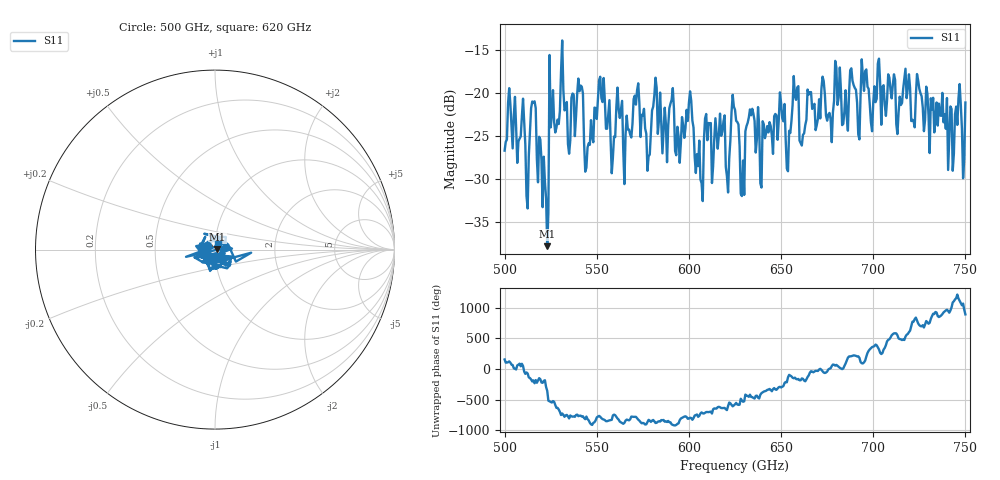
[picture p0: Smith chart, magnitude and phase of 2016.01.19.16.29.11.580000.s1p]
!Created with skrf (http://scikit-rf.org).
# GHz S RI R 50.0
!freq ReS11 ImS11
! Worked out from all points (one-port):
!   401 points, 500 GHz to 750 GHz, reference 50 ohm
!   lowest |S11| = -37.9 dB at 523.1 GHz (marker M1), VSWR 1.03, Z = 51.3 + j0.112 ohm
!   |S11| at or under -10 dB: start of sweep to end of sweep
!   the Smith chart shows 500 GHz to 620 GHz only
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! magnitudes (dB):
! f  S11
! 500 GHz  -26.7
! 512.5 GHz  -33.5
! 515.6 GHz  -21.1
! 523.1 GHz  -37.9
! 525.6 GHz  -22.6
! 531.2 GHz  -13.9
! 534.4 GHz  -26.0
! 541.2 GHz  -19.1
! 544.4 GHz  -28.7
! 552.5 GHz  -20.6
! 558.8 GHz  -27.5
! 562.5 GHz  -22.9
! 578.1 GHz  -27.4
! 581.2 GHz  -20.3
! 590.6 GHz  -20.8
! 593.8 GHz  -24.0
! 600 GHz  -21.1
! 606.2 GHz  -30.1
! 610 GHz  -25.5
! 621.2 GHz  -31.6
! 625 GHz  -22.0
! 628.8 GHz  -32.0
! 633.8 GHz  -22.6
! 653.8 GHz  -29.1
! 656.2 GHz  -21.4
! 687.5 GHz  -17.4
! 718.8 GHz  -19.5
! 750 GHz  -21.1
